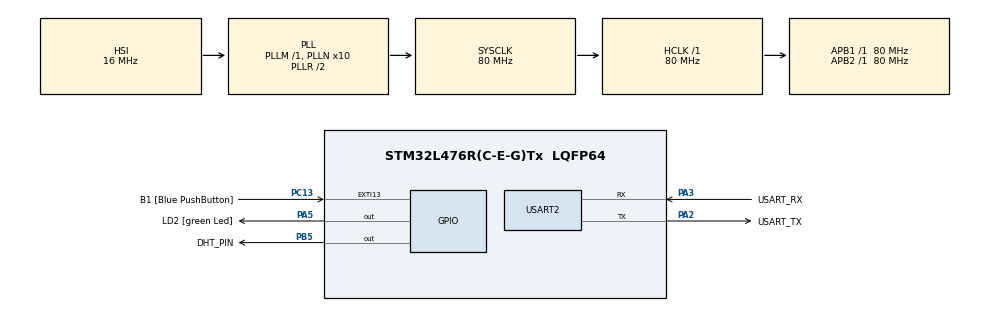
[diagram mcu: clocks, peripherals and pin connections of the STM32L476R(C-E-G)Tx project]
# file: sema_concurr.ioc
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FREERTOS.Tasks01=DelayTask,0,128,StartDelayTask,Default,NULL,Dynamic,NULL,NULL;DHTTask,2,256,StartDHTTask,Default,NULL,Dynamic,NULL,NULL;PrintTask,0,256,StartPrintTask,Default,NULL,Dynamic,NULL,NULL
Mcu.Family=STM32L4
Mcu.Name=STM32L476R(C-E-G)Tx
Mcu.Package=LQFP64
NVIC.PriorityGroup=NVIC_PRIORITYGROUP_4
PA13\ (JTMS-SWDIO).GPIO_Label=TMS
PA13\ (JTMS-SWDIO).Mode=Serial_Wire
PA13\ (JTMS-SWDIO).Signal=SYS_JTMS-SWDIO
PA14\ (JTCK-SWCLK).GPIO_Label=TCK
PA14\ (JTCK-SWCLK).Mode=Serial_Wire
PA14\ (JTCK-SWCLK).Signal=SYS_JTCK-SWCLK
PA2.GPIO_Label=USART_TX
PA2.GPIO_Mode=GPIO_MODE_AF_PP
PA2.GPIO_PuPd=GPIO_NOPULL
PA2.GPIO_Speed=GPIO_SPEED_FREQ_VERY_HIGH
PA2.Mode=Asynchronous
PA2.Signal=USART2_TX
PA3.GPIO_Label=USART_RX
PA3.GPIO_Mode=GPIO_MODE_AF_PP
PA3.GPIO_PuPd=GPIO_NOPULL
PA3.GPIO_Speed=GPIO_SPEED_FREQ_VERY_HIGH
PA3.Mode=Asynchronous
PA3.Signal=USART2_RX
PA5.GPIO_Label=LD2 [green Led]
PA5.GPIO_ModeDefaultOutputPP=GPIO_MODE_OUTPUT_PP
PA5.GPIO_PuPd=GPIO_NOPULL
PA5.GPIO_Speed=GPIO_SPEED_FREQ_LOW
PA5.Signal=GPIO_Output
PB3\ (JTDO-TRACESWO).GPIO_Label=SWO
PB3\ (JTDO-TRACESWO).Signal=SYS_JTDO-SWO
PB5.GPIO_Label=DHT_PIN
PB5.Signal=GPIO_Output
PC13.GPIO_Label=B1 [Blue PushButton]
PC13.GPIO_ModeDefaultEXTI=GPIO_MODE_IT_FALLING
PC13.GPIO_PuPd=GPIO_NOPULL
PC13.Signal=GPXTI13
PC14-OSC32_IN\ (PC14).Mode=LSE-External-Oscillator
PC14-OSC32_IN\ (PC14).Signal=RCC_OSC32_IN
PC15-OSC32_OUT\ (PC15).Mode=LSE-External-Oscillator
PC15-OSC32_OUT\ (PC15).Signal=RCC_OSC32_OUT
PH0-OSC_IN\ (PH0).Signal=RCC_OSC_IN
PH1-OSC_OUT\ (PH1).Signal=RCC_OSC_OUT
ProjectManager.HeapSize=0x200
ProjectManager.StackSize=0x400
ProjectManager.TargetToolchain=CMake
RCC.ADCFreq_Value=64000000
RCC.AHBFreq_Value=80000000
RCC.APB1Freq_Value=80000000
RCC.APB1TimFreq_Value=80000000
RCC.APB2Freq_Value=80000000
RCC.APB2TimFreq_Value=80000000
RCC.CortexFreq_Value=80000000
RCC.HCLKFreq_Value=80000000
RCC.HSE_VALUE=8000000
RCC.HSI_VALUE=16000000
RCC.MSI_VALUE=4000000
RCC.PLLN=10
RCC.PLLSourceVirtual=RCC_PLLSOURCE_HSI
RCC.PREFETCH_ENABLE=1
RCC.SYSCLKFreq_VALUE=80000000
RCC.SYSCLKSource=RCC_SYSCLKSOURCE_PLLCLK
RCC.USBFreq_Value=64000000
RCC.VCOOutputFreq_Value=160000000
USART2.VirtualMode-Asynchronous=VM_ASYNC
VP_FREERTOS_VS_CMSIS_V1.Mode=CMSIS_V1
board=NUCLEO-L476RG

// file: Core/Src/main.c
/* USER CODE BEGIN Header */
/**
 ******************************************************************************
 * @file           : main.c
 * @brief          : Main program body
 ******************************************************************************
 * @attention
 *
 * Copyright (c) 2026 STMicroelectronics.
 * All rights reserved.
 *
 * This software is licensed under terms that can be found in the LICENSE file
 * in the root directory of this software component.
 * If no LICENSE file comes with this software, it is provided AS-IS.
 *
 ******************************************************************************
 */
/* USER CODE END Header */
#include "main.h"
#include "cmsis_os.h"

/* USER CODE BEGIN Includes */
#include "dht11.h"
/* USER CODE END Includes */

UART_HandleTypeDef huart2;

osThreadId DelayTaskHandle;
osThreadId DHTTaskHandle;
osThreadId PrintTaskHandle;
/* USER CODE BEGIN PV */
static osSemaphoreId dhtSemaphoreHandle;
static osSemaphoreId printSemaphoreHandle;
static DHT11_t g_dht;
static uint8_t g_temperature = 0;
static uint8_t g_humidity = 0;

/* USER CODE END PV */

void SystemClock_Config(void);
static void MX_GPIO_Init(void);
static void MX_USART2_UART_Init(void);
void StartDelayTask(void const * argument);
void StartDHTTask(void const * argument);
void StartPrintTask(void const * argument);

int main(void)
{

  /* MCU Configuration--------------------------------------------------------*/

  /* Reset of all peripherals, Initializes the Flash interface and the Systick. */
  HAL_Init();

  /* Configure the system clock */
  SystemClock_Config();

  /* Initialize all configured peripherals */
  MX_GPIO_Init();
  MX_USART2_UART_Init();
  /* USER CODE BEGIN 2 */
    HAL_UART_Transmit(&huart2, (uint8_t *)"BOOT\r\n", 6, HAL_MAX_DELAY);
  /* USER CODE END 2 */

  /* USER CODE BEGIN RTOS_SEMAPHORES */
    osSemaphoreDef(dhtSemaphore);
    dhtSemaphoreHandle = osSemaphoreCreate(osSemaphore(dhtSemaphore), 1);
    osSemaphoreWait(dhtSemaphoreHandle, 0);

    osSemaphoreDef(printSemaphore);
    printSemaphoreHandle = osSemaphoreCreate(osSemaphore(printSemaphore), 1);
    osSemaphoreWait(printSemaphoreHandle, 0);
  /* USER CODE END RTOS_SEMAPHORES */

  /* Create the thread(s) */
  /* definition and creation of DelayTask */
  osThreadDef(DelayTask, StartDelayTask, osPriorityNormal, 0, 128);
  DelayTaskHandle = osThreadCreate(osThread(DelayTask), NULL);

  /* definition and creation of DHTTask */
  osThreadDef(DHTTask, StartDHTTask, osPriorityHigh, 0, 256);
  DHTTaskHandle = osThreadCreate(osThread(DHTTask), NULL);

  /* definition and creation of PrintTask */
  osThreadDef(PrintTask, StartPrintTask, osPriorityNormal, 0, 256);
  PrintTaskHandle = osThreadCreate(osThread(PrintTask), NULL);

  /* Start scheduler */
  osKernelStart();

  /* We should never get here as control is now taken by the scheduler */

  /* Infinite loop */
    while (1)
    {

    }
}

void SystemClock_Config(void)
{
  RCC_OscInitTypeDef RCC_OscInitStruct = {0};
  RCC_ClkInitTypeDef RCC_ClkInitStruct = {0};

  /** Configure the main internal regulator output voltage
  */
  if (HAL_PWREx_ControlVoltageScaling(PWR_REGULATOR_VOLTAGE_SCALE1) != HAL_OK)
  {
    Error_Handler();
  }

  /** Initializes the RCC Oscillators according to the specified parameters
  * in the RCC_OscInitTypeDef structure.
  */
  RCC_OscInitStruct.OscillatorType = RCC_OSCILLATORTYPE_HSI;
  RCC_OscInitStruct.HSIState = RCC_HSI_ON;
  RCC_OscInitStruct.HSICalibrationValue = RCC_HSICALIBRATION_DEFAULT;
  RCC_OscInitStruct.PLL.PLLState = RCC_PLL_ON;
  RCC_OscInitStruct.PLL.PLLSource = RCC_PLLSOURCE_HSI;
  RCC_OscInitStruct.PLL.PLLM = 1;
  RCC_OscInitStruct.PLL.PLLN = 10;
  RCC_OscInitStruct.PLL.PLLP = RCC_PLLP_DIV7;
  RCC_OscInitStruct.PLL.PLLQ = RCC_PLLQ_DIV2;
  RCC_OscInitStruct.PLL.PLLR = RCC_PLLR_DIV2;
  if (HAL_RCC_OscConfig(&RCC_OscInitStruct) != HAL_OK)
  {
    Error_Handler();
  }

  /** Initializes the CPU, AHB and APB buses clocks
  */
  RCC_ClkInitStruct.ClockType = RCC_CLOCKTYPE_HCLK|RCC_CLOCKTYPE_SYSCLK
                              |RCC_CLOCKTYPE_PCLK1|RCC_CLOCKTYPE_PCLK2;
  RCC_ClkInitStruct.SYSCLKSource = RCC_SYSCLKSOURCE_PLLCLK;
  RCC_ClkInitStruct.AHBCLKDivider = RCC_SYSCLK_DIV1;
  RCC_ClkInitStruct.APB1CLKDivider = RCC_HCLK_DIV1;
  RCC_ClkInitStruct.APB2CLKDivider = RCC_HCLK_DIV1;

  if (HAL_RCC_ClockConfig(&RCC_ClkInitStruct, FLASH_LATENCY_4) != HAL_OK)
  {
    Error_Handler();
  }
}

static void MX_USART2_UART_Init(void)
{

  huart2.Instance = USART2;
  huart2.Init.BaudRate = 115200;
  huart2.Init.WordLength = UART_WORDLENGTH_8B;
  huart2.Init.StopBits = UART_STOPBITS_1;
  huart2.Init.Parity = UART_PARITY_NONE;
  huart2.Init.Mode = UART_MODE_TX_RX;
  huart2.Init.HwFlowCtl = UART_HWCONTROL_NONE;
  huart2.Init.OverSampling = UART_OVERSAMPLING_16;
  huart2.Init.OneBitSampling = UART_ONE_BIT_SAMPLE_DISABLE;
  huart2.AdvancedInit.AdvFeatureInit = UART_ADVFEATURE_NO_INIT;
  if (HAL_UART_Init(&huart2) != HAL_OK)
  {
    Error_Handler();
  }

}

static void MX_GPIO_Init(void)
{
  GPIO_InitTypeDef GPIO_InitStruct = {0};

  /* GPIO Ports Clock Enable */
  __HAL_RCC_GPIOC_CLK_ENABLE();
  __HAL_RCC_GPIOH_CLK_ENABLE();
  __HAL_RCC_GPIOA_CLK_ENABLE();
  __HAL_RCC_GPIOB_CLK_ENABLE();

  /*Configure GPIO pin Output Level */
  HAL_GPIO_WritePin(LD2_GPIO_Port, LD2_Pin, GPIO_PIN_RESET);

  /*Configure GPIO pin Output Level */
  HAL_GPIO_WritePin(DHT_PIN_GPIO_Port, DHT_PIN_Pin, GPIO_PIN_RESET);

  /*Configure GPIO pin : B1_Pin */
  GPIO_InitStruct.Pin = B1_Pin;
  GPIO_InitStruct.Mode = GPIO_MODE_IT_FALLING;
  GPIO_InitStruct.Pull = GPIO_NOPULL;
  HAL_GPIO_Init(B1_GPIO_Port, &GPIO_InitStruct);

  /*Configure GPIO pin : LD2_Pin */
  GPIO_InitStruct.Pin = LD2_Pin;
  GPIO_InitStruct.Mode = GPIO_MODE_OUTPUT_PP;
  GPIO_InitStruct.Pull = GPIO_NOPULL;
  GPIO_InitStruct.Speed = GPIO_SPEED_FREQ_LOW;
  HAL_GPIO_Init(LD2_GPIO_Port, &GPIO_InitStruct);

  /*Configure GPIO pin : DHT_PIN_Pin */
  GPIO_InitStruct.Pin = DHT_PIN_Pin;
  GPIO_InitStruct.Mode = GPIO_MODE_OUTPUT_PP;
  GPIO_InitStruct.Pull = GPIO_NOPULL;
  GPIO_InitStruct.Speed = GPIO_SPEED_FREQ_LOW;
  HAL_GPIO_Init(DHT_PIN_GPIO_Port, &GPIO_InitStruct);

}

void StartDelayTask(void const * argument)
{
  /* USER CODE BEGIN 5 */
    for (;;)
    {
        osDelay(5000);
        HAL_UART_Transmit(&huart2, (uint8_t *)"TICK\r\n", 6, HAL_MAX_DELAY);
        osSemaphoreRelease(dhtSemaphoreHandle);
    }
  /* USER CODE END 5 */
}

void StartDHTTask(void const * argument)
{
  /* USER CODE BEGIN StartDHTTask */
    uint8_t temp;
    uint8_t hum;
    DHT11_Status_t status;

    DHT11_Init(&g_dht, DHT_PIN_GPIO_Port, DHT_PIN_Pin);

    for (;;)
    {
        osSemaphoreWait(dhtSemaphoreHandle, osWaitForever);

        status = DHT11_Read(&g_dht, &temp, &hum);
        if (DHT11_OK == status)
        {
            g_temperature = temp;
            g_humidity = hum;
            HAL_UART_Transmit(&huart2, (uint8_t *)"DHT_OK\r\n", 8,
                              HAL_MAX_DELAY);
        }

        osSemaphoreRelease(printSemaphoreHandle);
    }
  /* USER CODE END StartDHTTask */
}

void StartPrintTask(void const * argument)
{
  /* USER CODE BEGIN StartPrintTask */
    char buf[48];

    for (;;)
    {
        osSemaphoreWait(printSemaphoreHandle, osWaitForever);

        buf[0]  = 'T'; buf[1]  = 'e'; buf[2]  = 'm'; buf[3]  = 'p';
        buf[4]  = ':'; buf[5]  = ' ';
        buf[6]  = (char)('0' + (g_temperature / 10) % 10);
        buf[7]  = (char)('0' + g_temperature % 10);
        buf[8]  = ' '; buf[9]  = 'C'; buf[10] = ' '; buf[11] = ' ';
        buf[12] = 'H'; buf[13] = 'u'; buf[14] = 'm'; buf[15] = ':';
        buf[16] = ' ';
        buf[17] = (char)('0' + (g_humidity / 10) % 10);
        buf[18] = (char)('0' + g_humidity % 10);
        buf[19] = ' '; buf[20] = '%'; buf[21] = '\r'; buf[22] = '\n';
        HAL_UART_Transmit(&huart2, (uint8_t *)buf, 23, HAL_MAX_DELAY);
    }
  /* USER CODE END StartPrintTask */
}

void Error_Handler(void)
{
  /* USER CODE BEGIN Error_Handler_Debug */
    /* User can add his own implementation to report the HAL error return state
     */
    __disable_irq();
    while (1)
    {
    }
  /* USER CODE END Error_Handler_Debug */
}
#ifdef USE_FULL_ASSERT
/**
  * @brief  Reports the name of the source file and the source line number
  *         where the assert_param error has occurred.
  * @param  file: pointer to the source file name
  * @param  line: assert_param error line source number
  * @retval None
  */
void assert_failed(uint8_t *file, uint32_t line)
{
  /* USER CODE BEGIN 6 */
    /* User can add his own implementation to report the file name and line
       number, ex: printf("Wrong parameters value: file %s on line %d\r\n",
       file, line) */
  /* USER CODE END 6 */
}
#endif /* USE_FULL_ASSERT */
